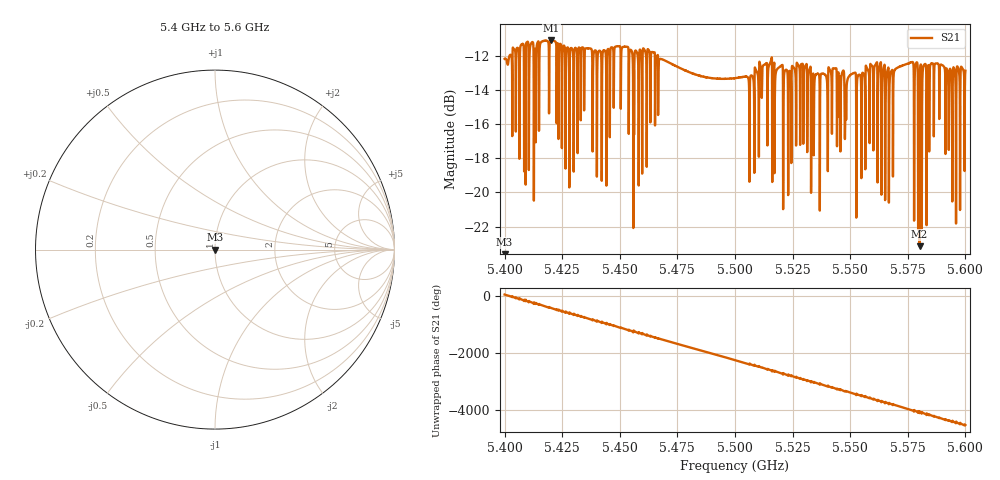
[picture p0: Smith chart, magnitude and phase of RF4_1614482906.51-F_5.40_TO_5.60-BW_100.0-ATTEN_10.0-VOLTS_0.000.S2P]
!Keysight Technologies,E5063A,MY54502693,A.05.04
!Date: Sat Feb 27 20:28:45 2021
!Data & Calibration Information:
!Freq	S11:NONE(--)	S21:NONE(--)	S12:NONE(--)	S22:NONE(--)
# Hz S RI R 50
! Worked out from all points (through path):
!   10000 points, 5.4 GHz to 5.6 GHz, reference 50 ohm
!   highest |S21| = -11.08 dB at 5.4203 GHz (marker M1); lowest = -23.2 dB at 5.5801 GHz (marker M2)
!   lowest |S11| = - dB at 5.4 GHz (marker M3), VSWR 1.00, Z = 50 + j0 ohm
!   |S11| at or under -10 dB: start of sweep to end of sweep
!   S12 and S22 are empty: the file has one direction only
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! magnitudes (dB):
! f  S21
! 5.4 GHz  -12.2
! 5.4116 GHz  -11.2
! 5.4134 GHz  -12.0
! 5.4162 GHz  -11.1
! 5.4203 GHz  -11.1
! 5.4273 GHz  -11.5
! 5.4333 GHz  -11.6
! 5.4667 GHz  -14.5
! 5.5 GHz  -13.3
! 5.513 GHz  -12.5
! 5.5171 GHz  -13.6
! 5.5198 GHz  -12.6
! 5.5334 GHz  -13.6
! 5.5432 GHz  -12.7
! 5.5452 GHz  -14.5
! 5.5514 GHz  -13.0
! 5.5667 GHz  -12.8
! 5.5765 GHz  -12.4
! 5.5801 GHz  -23.2
! 5.5875 GHz  -12.4
! 5.5951 GHz  -12.7
! 5.6 GHz  -12.9
